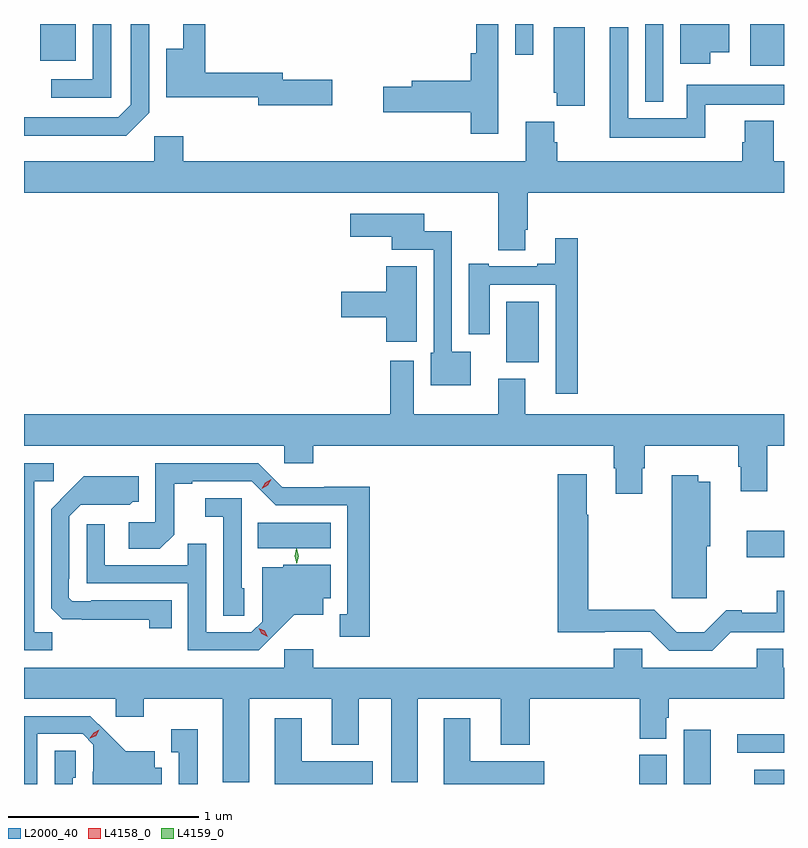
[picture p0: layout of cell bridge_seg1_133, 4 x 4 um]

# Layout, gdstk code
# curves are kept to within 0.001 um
import gdstk
lib = gdstk.Library(unit=1e-6, precision=1e-09)
def R(c, l, rs):  # rectangles x0, y0, x1, y1
    for r in rs: c.add(gdstk.rectangle(r[:2], r[2:], *l))
def P(c, l, *ps):  # polygons
    for p in ps: c.add(gdstk.Polygon(p, *l))
L2000_40 = (2000, 40)
L4158_0 = (4158, 0)
L4159_0 = (4159, 0)

bridge_seg1_133 = lib.new_cell('bridge_seg1_133')
R(bridge_seg1_133, L2000_40, [(469.712,564.603,469.858,564.756), (469.946,564.603,470.089,564.889), (470.318,564.603,470.474,564.679), (470.229,564.768,470.474,564.866), (470.277,565.796,470.474,565.936), (467.704,565.844,468.088,565.978), (469.013,566.822,469.183,567.142), (469.743,568.193,469.839,568.603), (470.297,568.382,470.474,568.603), (466.559,568.409,466.747,568.603), (469.059,568.44,469.155,568.603)])
P(bridge_seg1_133, L2000_40, [(468.97,568.287),(468.969,568.287),(468.969,568.603),(468.853,568.603),(468.853,568.45),(468.824,568.45),(468.824,568.304),(468.515,568.304),(468.515,568.274),(468.366,568.274),(468.366,568.139),(468.824,568.139),(468.824,568.026),(468.97,568.026)],
  [(470.086,568.454),(470.185,568.454),(470.185,568.602),(470.086,568.602),(470.086,568.603),(469.928,568.603),(469.928,568.395),(470.086,568.395)],
  [(468.097,568.31),(467.836,568.31),(467.836,568.346),(467.429,568.346),(467.429,568.603),(467.312,568.603),(467.312,568.474),(467.222,568.474),(467.222,568.218),(467.708,568.218),(467.708,568.175),(468.097,568.175)],
  [(467.133,568.137),(467.133,568.603),(467.037,568.603),(467.037,568.179),(466.971,568.113),(466.474,568.113),(466.474,568.016),(467.012,568.016)],
  [(466.932,568.603),(466.836,568.603),(466.836,568.311),(466.617,568.311),(466.617,568.215),(466.932,568.215)],
  [(470.06,568.178),(470.474,568.178),(470.474,568.282),(469.962,568.282),(469.962,568.108),(469.653,568.108),(469.653,568.585),(469.556,568.585),(469.556,568.004),(470.06,568.004)],
  [(469.426,568.585),(469.262,568.585),(469.262,568.242),(469.278,568.242),(469.278,568.173),(469.426,568.173)],
  [(469.111,567.52),(469.124,567.52),(469.124,567.716),(470.474,567.716),(470.474,567.88),(470.42,567.88),(470.42,568.093),(470.267,568.093),(470.267,567.981),(470.255,567.981),(470.255,567.88),(469.28,567.88),(469.28,567.98),(469.265,567.98),(469.265,568.089),(469.115,568.089),(469.115,567.88),(467.312,567.88),(467.312,568.012),(467.16,568.012),(467.16,567.88),(466.474,567.88),(466.474,567.716),(468.971,567.716),(468.971,567.412),(469.111,567.412)],
  [(468.826,566.878),(468.726,566.878),(468.726,567.512),(468.58,567.512),(468.58,567.604),(468.192,567.604),(468.192,567.482),(468.41,567.482),(468.41,567.414),(468.63,567.414),(468.63,566.874),(468.614,566.874),(468.614,566.702),(468.826,566.702)],
  [(469.388,567.475),(469.271,567.475),(469.271,567.34),(469.175,567.34),(469.175,567.327),(468.919,567.327),(468.919,567.34),(468.815,567.34),(468.815,566.97),(468.925,566.97),(468.925,567.231),(469.272,567.231),(469.272,566.658),(469.388,566.658)],
  [(468.541,567.329),(468.38,567.329),(468.38,567.193),(468.144,567.193),(468.144,567.059),(468.38,567.059),(468.38,566.931),(468.541,566.931)],
  [(469.729,566.265),(469.742,566.265),(469.742,566.384),(470.234,566.384),(470.234,566.273),(470.246,566.273),(470.246,566.145),(470.386,566.145),(470.386,566.384),(470.474,566.384),(470.474,566.548),(469.111,566.548),(469.111,566.737),(468.971,566.737),(468.971,566.548),(468.526,566.548),(468.526,566.83),(468.401,566.83),(468.401,566.548),(466.474,566.548),(466.474,566.384),(467.844,566.384),(467.844,566.291),(467.996,566.291),(467.996,566.384),(469.577,566.384),(469.577,566.265),(469.589,566.265),(469.589,566.13),(469.729,566.13)],
  [(468.295,566.168),(468.054,566.168),(468.054,566.166),(467.832,566.166),(467.706,566.292),(467.166,566.292),(467.166,565.98),(467.025,565.98),(467.025,565.84),(467.189,565.84),(467.265,565.916),(467.265,566.184),(467.359,566.184),(467.359,566.196),(467.673,566.196),(467.799,566.07),(468.176,566.07),(468.176,565.497),(468.137,565.497),(468.137,565.377),(468.295,565.377)],
  [(466.623,565.403),(466.527,565.403),(466.527,566.196),(466.63,566.196),(466.63,566.292),(466.474,566.292),(466.474,565.308),(466.623,565.308)],
  [(470.195,565.403),(470.474,565.403),(470.474,565.621),(470.436,565.621),(470.436,565.505),(470.251,565.505),(470.251,565.517),(470.17,565.517),(470.055,565.402),(469.91,565.402),(469.792,565.52),(469.443,565.52),(469.443,566.02),(469.435,566.02),(469.435,566.233),(469.283,566.233),(469.283,565.403),(469.77,565.404),(469.869,565.305),(470.097,565.305)],
  [(470.068,565.854),(470.086,565.854),(470.086,566.194),(470.023,566.194),(470.023,566.227),(469.883,566.227),(469.883,565.58),(470.068,565.58)],
  [(467.252,565.569),(466.828,565.569),(466.828,565.566),(466.728,565.566),(466.71,565.584),(466.71,565.684),(466.713,565.684),(466.713,566.013),(466.773,566.073),(467.03,566.072),(467.046,566.088),(467.077,566.088),(467.077,566.224),(466.789,566.224),(466.617,566.05),(466.617,565.528),(466.676,565.469),(467.134,565.468),(467.134,565.422),(467.252,565.422)],
  [(467.634,565.632),(467.619,565.632),(467.619,566.106),(467.427,566.106),(467.427,566.009),(467.523,566.009),(467.523,565.489),(467.634,565.489)],
  [(467.794,565.391),(467.897,565.493),(468.049,565.493),(468.049,565.58),(468.088,565.58),(468.088,565.756),(467.838,565.756),(467.838,565.744),(467.727,565.744),(467.727,565.458),(467.67,565.401),(467.433,565.401),(467.433,565.868),(467.335,565.868),(467.335,565.755),(466.899,565.755),(466.899,565.969),(466.803,565.969),(466.803,565.659),(467.337,565.659),(467.337,565.308),(467.71,565.308)],
  [(467.659,565.052),(468.095,565.052),(468.095,564.809),(468.235,564.809),(468.235,565.052),(468.407,565.052),(468.407,564.611),(468.547,564.611),(468.547,565.052),(468.983,565.052),(468.983,564.809),(469.136,564.809),(469.136,565.052),(469.715,565.052),(469.715,564.841),(469.855,564.841),(469.855,564.951),(469.868,564.951),(469.868,565.052),(470.474,565.052),(470.474,565.216),(470.47,565.216),(470.47,565.315),(470.33,565.315),(470.33,565.216),(469.728,565.216),(469.728,565.314),(469.577,565.314),(469.577,565.216),(467.996,565.216),(467.996,565.312),(467.844,565.312),(467.844,565.216),(466.474,565.216),(466.474,565.052),(466.956,565.052),(466.956,564.957),(467.103,564.957),(467.103,565.052),(467.519,565.052),(467.519,564.611),(467.659,564.611)],
  [(466.545,564.867),(466.782,564.867),(466.839,564.81),(466.839,564.668),(466.835,564.668),(466.835,564.603),(467.2,564.603),(467.2,564.688),(467.161,564.688),(467.161,564.775),(467.009,564.775),(466.822,564.96),(466.474,564.96),(466.474,564.603),(466.545,564.603)],
  [(468.31,564.724),(467.935,564.724),(467.935,564.949),(467.795,564.949),(467.795,564.603),(468.31,564.603)],
  [(469.211,564.724),(468.823,564.724),(468.823,564.949),(468.683,564.949),(468.683,564.603),(469.211,564.603)],
  [(467.389,564.892),(467.249,564.892),(467.249,564.771),(467.288,564.771),(467.288,564.603),(467.389,564.603)],
  [(466.731,564.636),(466.746,564.636),(466.746,564.779),(466.635,564.779),(466.635,564.603),(466.731,564.603)])
P(bridge_seg1_133, L4158_0, [(467.726,566.156),(467.726,566.157),(467.744,566.189),(467.775,566.207),(467.776,566.207),(467.776,566.207),(467.758,566.175),(467.726,566.156)],
  [(467.757,565.378),(467.726,565.394),(467.709,565.424),(467.709,565.424),(467.709,565.424),(467.74,565.409),(467.758,565.379),(467.758,565.378)],
  [(466.821,564.843),(466.821,564.844),(466.84,564.873),(466.871,564.888),(466.871,564.888),(466.871,564.888),(466.853,564.858),(466.822,564.843)])
P(bridge_seg1_133, L4159_0, [(467.91,565.762),(467.91,565.762),(467.899,565.802),(467.908,565.841),(467.908,565.841),(467.909,565.841),(467.919,565.802),(467.91,565.762)])

lib.write_gds('bridge_seg1_133.gds')
